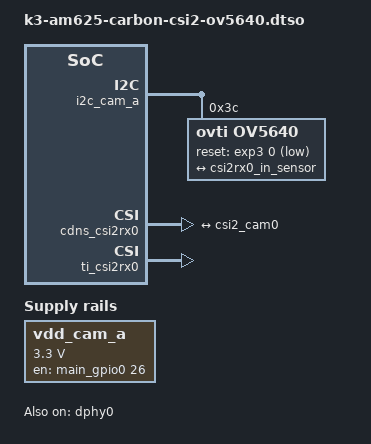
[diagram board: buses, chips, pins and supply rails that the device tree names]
// SPDX-License-Identifier: GPL-2.0
/*
 * OV5640 camera module
 * Copyright (C) 2024 Ezurio LLC
 */

/dts-v1/;
/plugin/;

#include <dt-bindings/gpio/gpio.h>

&{/} {
	vdd_cam_a: regulator-cam-a-pwr {
		compatible = "regulator-fixed";
		regulator-name = "vdd_cam_a";
		regulator-min-microvolt = <3300000>;
		regulator-max-microvolt = <3300000>;
		gpios = <&main_gpio0 26 GPIO_ACTIVE_HIGH>; /* GPIO_C_6 / CAM_A_PWR */
		enable-active-high;
		regulator-always-on;
		regulator-boot-on;
	};

	/* On Camera module oscillator */
	clk_ov5640_fixed: ov5640-xclk {
		compatible = "fixed-clock";
		#clock-cells = <0>;
		clock-frequency = <12000000>;
	};
};

#if 0
&cam_mck { /* CPU CAM_MCK */
	status = "okay";
};
#endif

&i2c_cam_a {
	#address-cells = <1>;
	#size-cells = <0>;

	ov5640: camera@3c {
		compatible = "ovti,ov5640";
		reg = <0x3c>;

		//clocks = <&cam_mck>; /* From CPU */
		clocks = <&clk_ov5640_fixed>; /* On Camera module */
		clock-names = "xclk";

		/* Should be GPIO_C_7 / CAM_A_RST# &main_gpio0 29 */
		reset-gpios = <&exp3 0 GPIO_ACTIVE_LOW>; /* CSI_A_GPIO0 */

		port {
			csi2_cam0: endpoint {
				remote-endpoint = <&csi2rx0_in_sensor>;
				clock-lanes = <0>;
				data-lanes = <1 2>;
			};
		};
	};
};

&cdns_csi2rx0 {
	ports {
		#address-cells = <1>;
		#size-cells = <0>;

		csi0_port0: port@0 {
			reg = <0>;
			status = "okay";

			csi2rx0_in_sensor: endpoint {
				remote-endpoint = <&csi2_cam0>;
				bus-type = <4>; /* CSI2 DPHY. */
				clock-lanes = <0>;
				data-lanes = <1 2>;
			};
		};
	};
};

&ti_csi2rx0 {
	status = "okay";
};

&dphy0 {
	status = "okay";
};
